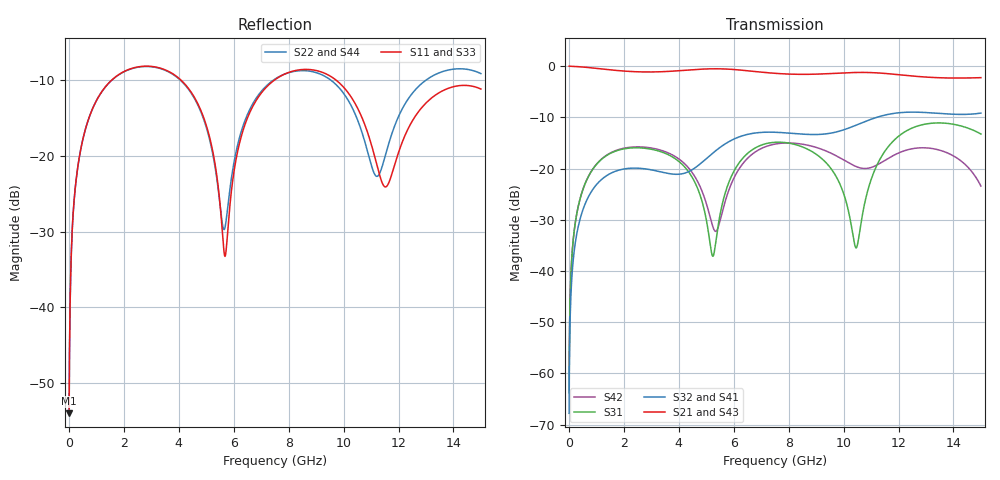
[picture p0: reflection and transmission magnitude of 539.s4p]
! Created with skrf 1.8.0 (http://scikit-rf.org).
# GHz S RI R 50.0
!freq ReS11 ImS11 ReS12 ImS12 ReS13 ImS13
! ReS14 ImS14
! ReS21 ImS21 ReS22 ImS22 ReS23 ImS23
! ReS24 ImS24
! ReS31 ImS31 ReS32 ImS32 ReS33 ImS33
! ReS34 ImS34
! ReS41 ImS41 ReS42 ImS42 ReS43 ImS43
! ReS44 ImS44
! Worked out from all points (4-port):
!   2499 points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, 5 MHz to 15 GHz, reference 50 ohm
!   strongest paths, dB at 5 MHz, 3.476 GHz, 7.19 GHz, 11.1 GHz, 15 GHz:
!     S21: 0.0, -1.1, -1.3, -1.3, -2.3
!     S43: 0.0, -1.1, -1.3, -1.3, -2.2
!     S32: -67.8, -20.8, -12.9, -10.2, -9.2
!     S41: -67.8, -20.8, -12.9, -10.2, -9.2
!     S31: -63.8, -17.0, -15.1, -20.8, -13.3
!     S42: -63.8, -16.6, -15.7, -19.6, -23.4
!   lowest |S11| = -54.0 dB at 5 MHz (marker M1), VSWR 1.00, Z = 50.2 + j0.121 ohm
!   |S11| at or under -10 dB: start of sweep to 1.546 GHz; 4.089 GHz to 7.467 GHz (3.379 GHz wide, 58.5 % of centre); 9.738 GHz to end of sweep
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0.005  0.00158 0.0012  0.9984 -0.00309  7.99e-05 0.000644  -7.76e-05 -0.000401
       0.9984 -0.00309  0.00158 0.0012  -7.76e-05 -0.000401  8e-05 0.000644
       7.99e-05 0.000644  -7.76e-05 -0.000401  0.00158 0.0012  0.9984 -0.00309
       -7.76e-05 -0.000401  8e-05 0.000644  0.9984 -0.00309  0.00158 0.0012
0.3626511  0.0285 0.0905  0.9607 -0.2212  0.0135 0.0438  -0.0114 -0.0267
           0.9607 -0.2212  0.0285 0.0905  -0.0114 -0.0267  0.014 0.0436
           0.0135 0.0438  -0.0114 -0.0267  0.0285 0.0905  0.9607 -0.2212
           -0.0114 -0.0267  0.014 0.0436  0.9607 -0.2212  0.0285 0.0905
1.67  0.2823 0.1723  0.5229 -0.7445  0.1328 0.0632  -0.0936 -0.00158
      0.5229 -0.7445  0.2807 0.1734  -0.0936 -0.00156  0.1378 0.0559
      0.1328 0.0632  -0.0936 -0.00156  0.2822 0.1722  0.523 -0.7445
      -0.0936 -0.00158  0.1378 0.0559  0.523 -0.7445  0.2806 0.1733
5.671113  0.0216 -0.00338  -0.9358 -0.059  0.0248 0.0497  -0.00602 0.1728
          -0.9358 -0.059  0.0329 0.00438  -0.00588 0.1728  -0.0131 0.0442
          0.0248 0.0497  -0.00588 0.1728  0.0207 -0.00116  -0.9358 -0.0586
          -0.00602 0.1728  -0.0131 0.0442  -0.9358 -0.0586  0.0334 0.00667
8.834931  0.3695 -0.0419  0.0254 0.832  0.1304 -0.0685  0.2042 -0.0655
          0.0254 0.832  0.3594 -0.0442  0.2044 -0.0663  0.1227 -0.1112
          0.1304 -0.0685  0.2044 -0.0663  0.3715 -0.0393  0.0237 0.8313
          0.2042 -0.0655  0.1227 -0.1112  0.0237 0.8313  0.3615 -0.0456
10.45436  0.1492 -0.157  0.6782 0.5393  0.0167 0.00197  0.1592 -0.2121
          0.6782 0.5393  0.136 -0.1229  0.1581 -0.2127  -0.0781 -0.0697
          0.0167 0.00197  0.1581 -0.2127  0.1532 -0.157  0.6757 0.5417
          0.1592 -0.2121  -0.0781 -0.0697  0.6757 0.5417  0.1363 -0.126
15  0.2749 -0.0364  -0.1407 -0.7582  0.0566 -0.2099  -0.3345 0.0946
    -0.1407 -0.7582  0.33 -0.1185  -0.3341 0.0962  0.0479 -0.0474
    0.0566 -0.2099  -0.3341 0.0962  0.2724 -0.0295  -0.1349 -0.7607
    -0.3345 0.0946  0.0479 -0.0474  -0.1349 -0.7607  0.3263 -0.1192
